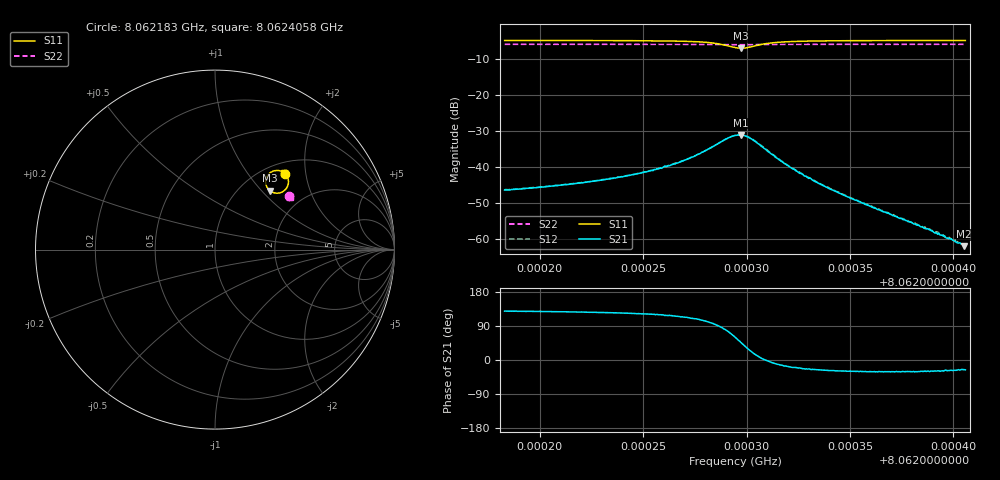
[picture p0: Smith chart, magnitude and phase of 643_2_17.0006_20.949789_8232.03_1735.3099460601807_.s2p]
#  HZ  S  RI  R  50.00
! Rohde & Schwarz Vector Network Analyzer
! Rohde-Schwarz,ZNB20-2Port,1311601062101988,3.16
! Created: UTC 3/20/2024, 11:20:55 PM
! freq[Hz]  re:S11  im:S11  re:S21  im:S21  re:S12  im:S12  re:S22  im:S22
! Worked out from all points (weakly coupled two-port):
!   401 points, 8.062183 GHz to 8.0624058 GHz, reference 50 ohm
!   highest |S21| = -31.11 dB at 8.0622972 GHz (marker M1); lowest = -62.1 dB at 8.0624053 GHz (marker M2)
!   lowest |S11| = -7.0 dB at 8.0622972 GHz (marker M3), VSWR 2.63, Z = 67.5 + j55.6 ohm
!   |S11| at or under -10 dB: nowhere
!   |S22| runs from -6.0 to -5.9 dB; largest |S21 - S12| = 0.0014
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8.06218303e9  0.3908 0.4227  -0.00301 0.00371  -0.00277 0.00394  0.4096 0.3014
8.06220141e9  0.3934 0.42  -0.00323 0.00415  -0.00297 0.00438  0.4102 0.3004
8.06222035e9  0.3963 0.416  -0.00358 0.00483  -0.00332 0.0051  0.411 0.2993
8.06224096e9  0.4008 0.4092  -0.00411 0.00616  -0.00373 0.00641  0.4118 0.2979
8.06225766e9  0.4054 0.3991  -0.00464 0.00825  -0.00418 0.00859  0.4123 0.2968
8.06227159e9  0.4089 0.3814  -0.00482 0.0119  -0.00407 0.0123  0.4126 0.2953
8.06228329e9  0.4021 0.3485  -0.00231 0.0188  -0.00133 0.0189  0.4123 0.2933
8.06229053e9  0.3696 0.3187  0.00538 0.0241  0.00667 0.0239  0.4109 0.2921
8.06229443e9  0.3326 0.3156  0.0135 0.0238  0.0146 0.0233  0.4093 0.2924
8.06229721e9  0.3049 0.329  0.0191 0.0202  0.0201 0.0195  0.4084 0.2931
8.06229944e9  0.2895 0.3485  0.0219 0.0156  0.0229 0.0148  0.4081 0.2941
8.06230222e9  0.2823 0.3764  0.0227 0.00953  0.0235 0.00845  0.4083 0.2952
8.06231002e9  0.3044 0.4257  0.0167 -0.000591  0.0171 -0.00174  0.41 0.2967
8.06231949e9  0.3339 0.4398  0.0102 -0.00302  0.0102 -0.00368  0.412 0.2964
8.06233175e9  0.3542 0.4405  0.00598 -0.00275  0.00589 -0.00316  0.413 0.2955
8.06234623e9  0.3661 0.4376  0.00362 -0.00199  0.00354 -0.00227  0.4141 0.2946
8.06236906e9  0.3759 0.4335  0.00192 -0.00114  0.00185 -0.00127  0.4151 0.2933
8.06238856e9  0.3806 0.4308  0.00115 -0.000678  0.00113 -0.000758  0.4161 0.292
8.06239134e9  0.3812 0.4304  0.00105 -0.000584  0.00102 -0.000686  0.4161 0.2918
8.06239469e9  0.3818 0.4301  0.000977 -0.000531  0.000964 -0.00057  0.4163 0.2917
8.06240527e9  0.3836 0.4288  0.000713 -0.000337  0.000731 -0.000394  0.4167 0.2911
8.06240583e9  0.3837 0.4288  0.000719 -0.000351  0.000717 -0.000409  0.4167 0.291
